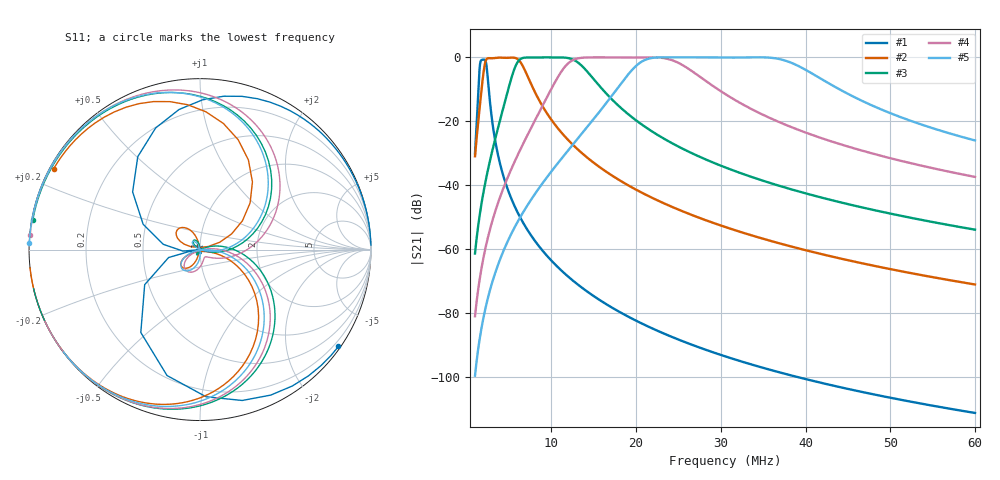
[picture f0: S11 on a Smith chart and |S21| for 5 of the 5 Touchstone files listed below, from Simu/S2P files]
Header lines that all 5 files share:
[Version] 2.0
# MHz S DB R 50
[Number of Ports] 2
[Two-Port Data Order] 21_12
! Fstart: 1  Fstop: 60
[Reference]  50 50
! Freq:  S11 mag:  S11 angle:  S21 mag:  S21 angle:  S12 mag:  S12 angle:  S22 mag:  S22 angle:
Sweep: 1 MHz to 60 MHz
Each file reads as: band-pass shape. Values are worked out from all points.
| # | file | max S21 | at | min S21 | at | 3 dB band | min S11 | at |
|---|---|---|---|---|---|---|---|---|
| 1 | 1-5.S2P | -0.78 dB | 2.003 MHz | -111.2 dB | 60 MHz | 1.59 MHz-2.357 MHz | -38.4 dB | 1.885 MHz |
| 2 | 6-5.S2P | -0.16 dB | 5.425 MHz | -71.0 dB | 60 MHz | 2.121 MHz-6.664 MHz | -41.8 dB | 3.773 MHz |
| 3 | 9-5.S2P | -0.09 dB | 10.73 MHz | -61.4 dB | 1 MHz | 5.779 MHz-13.74 MHz | -55.4 dB | 9.083 MHz |
| 4 | 13.S2P | -0.06 dB | 21.77 MHz | -81.0 dB | 1 MHz | 11.62 MHz-25.84 MHz | -46.9 dB | 21.77 MHz |
| 5 | 20.S2P | -0.05 dB | 27.02 MHz | -99.5 dB | 1 MHz | 19.94 MHz-39.35 MHz | -55.9 dB | 26.96 MHz |
